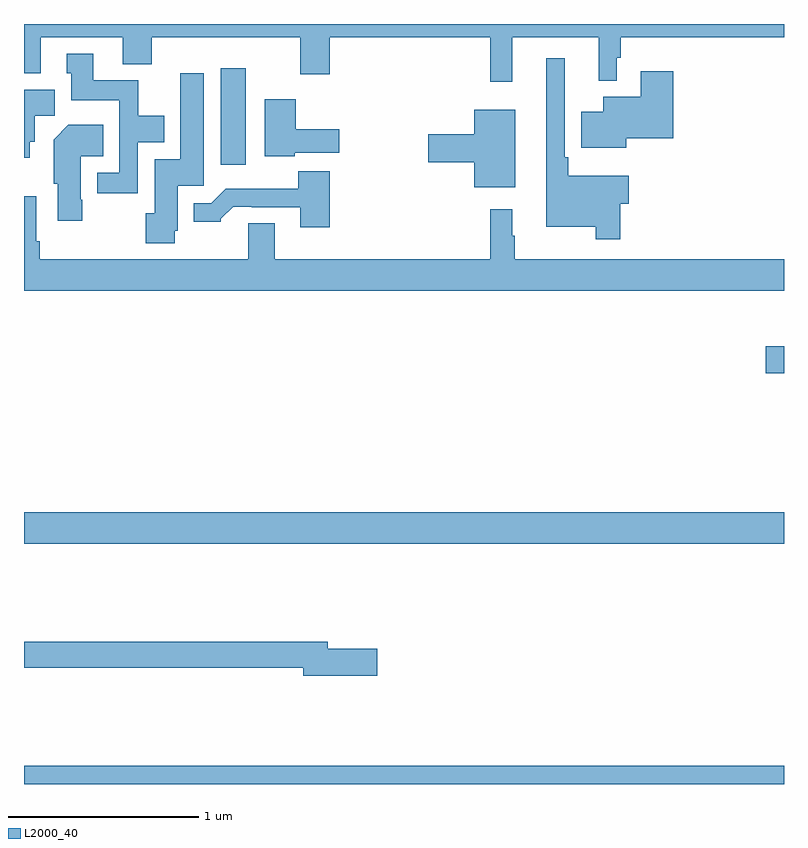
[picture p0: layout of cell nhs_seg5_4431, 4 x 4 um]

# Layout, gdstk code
import gdstk
lib = gdstk.Library(unit=1e-6, precision=1e-09)
def R(c, l, rs):  # rectangles x0, y0, x1, y1
    for r in rs: c.add(gdstk.rectangle(r[:2], r[2:], *l))
def P(c, l, *ps):  # polygons
    for p in ps: c.add(gdstk.Polygon(p, *l))
L2000_40 = (2000, 40)

nhs_seg5_4431 = lib.new_cell('nhs_seg5_4431')
R(nhs_seg5_4431, L2000_40, [(371,884.799,375,884.896), (371,886.064,375,886.228), (374.904,886.961,375,887.103), (372.035,888.057,372.166,888.565)])
P(nhs_seg5_4431, L2000_40, [(373.571,888.728),(374.024,888.728),(374.024,888.5),(374.121,888.5),(374.121,888.621),(374.141,888.621),(374.141,888.728),(375,888.728),(375,888.799),(371,888.799),(371,888.539),(371.089,888.539),(371.089,888.728),(371.519,888.728),(371.519,888.587),(371.672,888.587),(371.672,888.728),(372.455,888.728),(372.455,888.534),(372.608,888.534),(372.608,888.728),(373.453,888.728),(373.453,888.495),(373.571,888.495)],
  [(371.598,888.176),(371.737,888.176),(371.737,888.316),(371.601,888.316),(371.601,888.502),(371.365,888.502),(371.365,888.643),(371.225,888.643),(371.225,888.54),(371.249,888.54),(371.249,888.398),(371.502,888.398),(371.502,888.015),(371.385,888.015),(371.385,887.907),(371.598,887.907)],
  [(374.138,887.854),(374.182,887.854),(374.182,888.001),(373.865,888.001),(373.865,888.097),(373.845,888.097),(373.845,888.619),(373.748,888.619),(373.748,887.732),(374.01,887.732),(374.01,887.667),(374.138,887.667)],
  [(374.17,888.197),(374.417,888.197),(374.417,888.55),(374.246,888.55),(374.246,888.415),(374.048,888.415),(374.048,888.337),(373.934,888.337),(373.934,888.149),(374.17,888.149)],
  [(371.793,887.712),(371.809,887.712),(371.809,887.949),(371.947,887.949),(371.947,888.541),(371.822,888.541),(371.822,888.088),(371.687,888.088),(371.687,887.802),(371.641,887.802),(371.641,887.646),(371.793,887.646)],
  [(371.031,888.18),(371.056,888.18),(371.056,888.316),(371.161,888.316),(371.161,888.454),(371,888.454),(371,888.095),(371.031,888.095)],
  [(372.426,888.122),(372.658,888.122),(372.658,888.244),(372.43,888.244),(372.43,888.403),(372.266,888.403),(372.266,888.104),(372.426,888.104)],
  [(373.585,888.349),(373.37,888.349),(373.37,888.218),(373.128,888.218),(373.128,888.071),(373.37,888.071),(373.37,887.939),(373.585,887.939)],
  [(371.307,887.875),(371.299,887.875),(371.299,888.104),(371.417,888.104),(371.417,888.268),(371.234,888.268),(371.156,888.19),(371.156,887.958),(371.177,887.958),(371.177,887.763),(371.307,887.763)],
  [(372.608,888.025),(372.443,888.025),(372.443,887.932),(372.061,887.932),(371.985,887.856),(371.894,887.856),(371.894,887.759),(372.036,887.759),(372.036,887.774),(372.1,887.838),(372.199,887.838),(372.199,887.835),(372.455,887.835),(372.455,887.73),(372.608,887.73)],
  [(375,887.56),(373.582,887.56),(373.582,887.684),(373.57,887.684),(373.57,887.824),(373.453,887.824),(373.453,887.56),(372.319,887.56),(372.319,887.75),(372.179,887.75),(372.179,887.56),(371.084,887.56),(371.084,887.656),(371.064,887.656),(371.064,887.893),(371,887.893),(371,887.396),(375,887.396)],
  [(372.859,885.512),(372.598,885.512),(372.598,885.548),(371,885.548),(371,885.412),(372.47,885.412),(372.47,885.37),(372.859,885.37)])

lib.write_gds('nhs_seg5_4431.gds')
